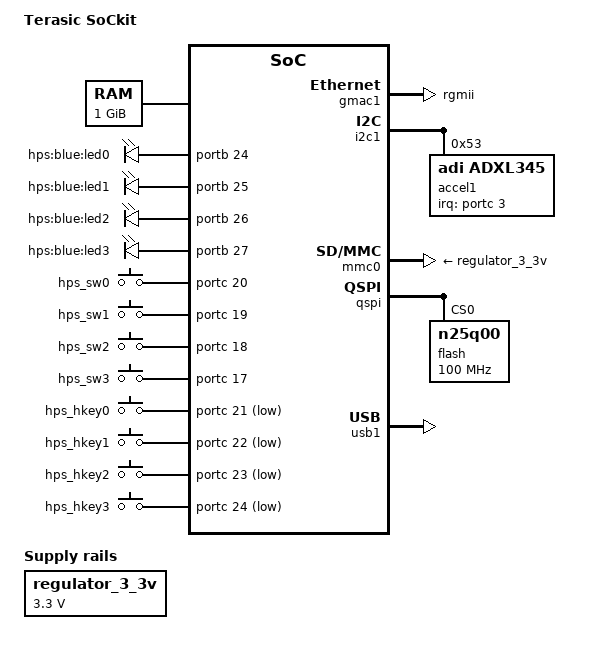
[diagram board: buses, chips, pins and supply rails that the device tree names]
// SPDX-License-Identifier: GPL-2.0+
/*
 * Copyright (C) 2013 Steffen Trumtrar <s.trumtrar@pengutronix.de>
 */

#include "socfpga_cyclone5.dtsi"

/ {
	model = "Terasic SoCkit";
	compatible = "terasic,socfpga-cyclone5-sockit", "altr,socfpga-cyclone5", "altr,socfpga";

	chosen {
		bootargs = "earlyprintk";
		stdout-path = "serial0:115200n8";
	};

	memory@0 {
		name = "memory";
		device_type = "memory";
		reg = <0x0 0x40000000>; /* 1GB */
	};

	aliases {
		/* this allow the ethaddr uboot environmnet variable contents
		 * to be added to the gmac1 device tree blob.
		 */
		ethernet0 = &gmac1;
	};

	leds {
		compatible = "gpio-leds";

		hps_led0 {
			label = "hps:blue:led0";
			gpios = <&portb 24 0>;	/* HPS_GPIO53 */
			linux,default-trigger = "heartbeat";
		};

		hps_led1 {
			label = "hps:blue:led1";
			gpios = <&portb 25 0>;	/* HPS_GPIO54 */
			linux,default-trigger = "heartbeat";
		};

		hps_led2 {
			label = "hps:blue:led2";
			gpios = <&portb 26 0>;	/* HPS_GPIO55 */
			linux,default-trigger = "heartbeat";
		};

		hps_led3 {
			label = "hps:blue:led3";
			gpios = <&portb 27 0>;	/* HPS_GPIO56 */
			linux,default-trigger = "heartbeat";
		};
	};

	gpio-keys {
		compatible = "gpio-keys";

		hps_sw0 {
			label = "hps_sw0";
			gpios = <&portc 20 0>;	/* HPS_GPI7 */
			linux,input-type = <5>;	/* EV_SW */
			linux,code = <0x0>;	/* SW_LID */
		};

		hps_sw1 {
			label = "hps_sw1";
			gpios = <&portc 19 0>;	/* HPS_GPI6 */
			linux,input-type = <5>;	/* EV_SW */
			linux,code = <0x5>;	/* SW_DOCK */
		};

		hps_sw2 {
			label = "hps_sw2";
			gpios = <&portc 18 0>;	/* HPS_GPI5 */
			linux,input-type = <5>;	/* EV_SW */
			linux,code = <0xa>;	/* SW_KEYPAD_SLIDE */
		};

		hps_sw3 {
			label = "hps_sw3";
			gpios = <&portc 17 0>;	/* HPS_GPI4 */
			linux,input-type = <5>;	/* EV_SW */
			linux,code = <0xc>;	/* SW_ROTATE_LOCK */
		};

		hps_hkey0 {
			label = "hps_hkey0";
			gpios = <&portc 21 1>;	/* HPS_GPI8 */
			linux,code = <187>;	/* KEY_F17 */
		};

		hps_hkey1 {
			label = "hps_hkey1";
			gpios = <&portc 22 1>;	/* HPS_GPI9 */
			linux,code = <188>;	/* KEY_F18 */
		};

		hps_hkey2 {
			label = "hps_hkey2";
			gpios = <&portc 23 1>;	/* HPS_GPI10 */
			linux,code = <189>;	/* KEY_F19 */
		};

		hps_hkey3 {
			label = "hps_hkey3";
			gpios = <&portc 24 1>;	/* HPS_GPI11 */
			linux,code = <190>;	/* KEY_F20 */
		};
	};

	regulator_3_3v: vcc3p3-regulator {
		compatible = "regulator-fixed";
		regulator-name = "VCC3P3";
		regulator-min-microvolt = <3300000>;
		regulator-max-microvolt = <3300000>;
	};
};

&gmac1 {
	status = "okay";
	phy-mode = "rgmii";

	rxd0-skew-ps = <0>;
	rxd1-skew-ps = <0>;
	rxd2-skew-ps = <0>;
	rxd3-skew-ps = <0>;
	txen-skew-ps = <0>;
	txc-skew-ps = <2600>;
	rxdv-skew-ps = <0>;
	rxc-skew-ps = <2000>;
};

&gpio0 {	/* GPIO 0..29 */
	status = "okay";
};

&gpio1 {	/* GPIO 30..57 */
	status = "okay";
};

&gpio2 {	/* GPIO 58..66 (HLGPI 0..13 at offset 13) */
	status = "okay";
};

&i2c1 {
	status = "okay";

	accel1: accelerometer@53 {
		compatible = "adi,adxl345";
		reg = <0x53>;

		interrupt-parent = <&portc>;
		interrupts = <3 2>;
	};
};

&mmc0 {
	vmmc-supply = <&regulator_3_3v>;
	vqmmc-supply = <&regulator_3_3v>;
	status = "okay";
};

&qspi {
	status = "okay";

	flash: flash@0 {
		#address-cells = <1>;
		#size-cells = <1>;
		compatible = "n25q00";
		reg = <0>;
		spi-max-frequency = <100000000>;

		m25p,fast-read;
		cdns,page-size = <256>;
		cdns,block-size = <16>;
		cdns,read-delay = <4>;
		cdns,tshsl-ns = <50>;
		cdns,tsd2d-ns = <50>;
		cdns,tchsh-ns = <4>;
		cdns,tslch-ns = <4>;
	};
};

&usb1 {
	status = "okay";
};
